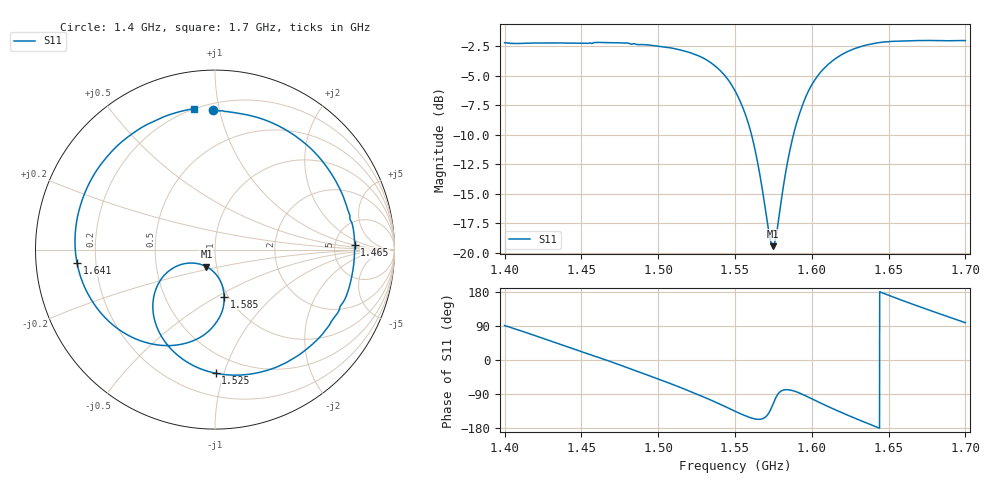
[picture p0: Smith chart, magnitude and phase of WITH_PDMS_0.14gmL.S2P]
!Keysight Technologies,E5063A,MY54503975,A.05.08
!Date: Fri Mar 07 04:57:41 2025
!Data & Calibration Information:
!Freq	S11:NONE(--)	S21:RESPT(ON)	S12:NONE(--)	S22:NONE(--)
# Hz S RI R 50
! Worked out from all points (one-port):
!   3001 points, 1.4 GHz to 1.7 GHz, reference 50 ohm
!   lowest |S11| = -19.5 dB at 1.575 GHz (marker M1), VSWR 1.24, Z = 44.7 - j8.6 ohm
!   |S11| at or under -10 dB: 1.561 GHz to 1.588 GHz (27.28 MHz wide, 1.73 % of centre)
!   S11 on the Smith chart (normalised r, x): 1.4 GHz: 0.24, +0.96; 1.465 GHz: 7.89, +1.07; 1.525 GHz: 0.36, -0.94; 1.585 GHz: 0.96, -0.54; 1.641 GHz: 0.13, -0.05; 1.7 GHz: 0.20, +0.84
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1.4e9  -0.0112 0.7768  -0 -0  0 0  0 0
1.4239e9  0.403 0.6619  0 -0  0 0  0 0
1.45e9  0.7163 0.291  -0 0  0 0  0 0
1.4646e9  0.7783 0.0267  -0 0  0 0  0 0
1.4792e9  0.7318 -0.2577  -0 0  0 0  0 0
1.5e9  0.4807 -0.5775  0 -0  0 0  0 0
1.5132e9  0.243 -0.6852  0 0  0 0  0 0
1.525e9  0.00434 -0.6889  0 0  0 0  0 0
1.5394e9  -0.2546 -0.5436  0 0  0 0  0 0
1.55e9  -0.3454 -0.3421  0 -0  0 0  0 0
1.5639e9  -0.2349 -0.1038  0 0  0 0  0 0
1.5747e9  -0.0477 -0.0951  0 0  0 0  0 0
1.5855e9  0.0509 -0.2622  0 0  0 0  0 0
1.5922e9  0.0166 -0.3915  0 0  0 0  0 0
1.6e9  -0.1107 -0.5032  0 -0  0 0  0 0
1.6084e9  -0.2922 -0.5339  0 -0  0 0  0 0
1.6176e9  -0.485 -0.4766  -0 0  0 0  0 0
1.6293e9  -0.6736 -0.3035  -0 0  0 0  0 0
1.6406e9  -0.7685 -0.0762  -0 -0  0 0  0 0
1.65e9  -0.7753 0.1257  -0 -0  0 0  0 0
1.6759e9  -0.5349 0.5871  -0 -0  0 0  0 0
1.7e9  -0.116 0.785  -0 -0  0 0  0 0
